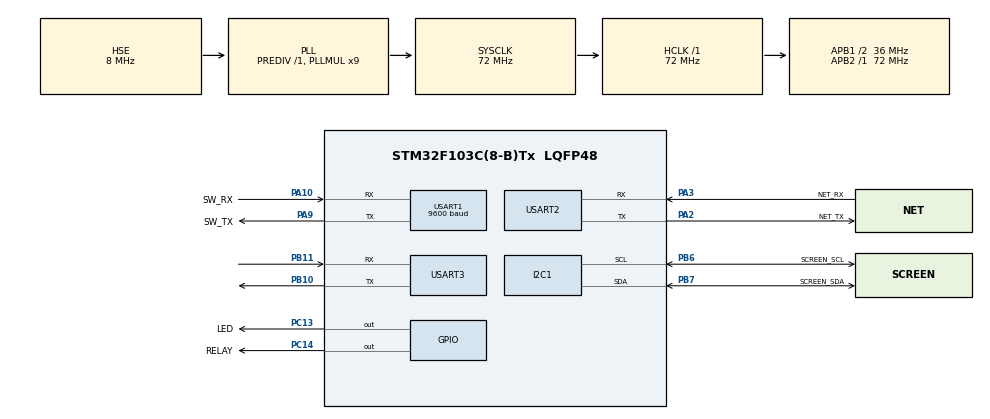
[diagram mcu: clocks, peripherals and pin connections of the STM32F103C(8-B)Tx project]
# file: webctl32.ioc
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Mcu.Family=STM32F1
Mcu.Name=STM32F103C(8-B)Tx
Mcu.Package=LQFP48
NVIC.I2C1_EV_IRQn=true\:0\:0\:false\:false\:true\:true\:true
NVIC.PriorityGroup=NVIC_PRIORITYGROUP_4
NVIC.USART1_IRQn=true\:0\:0\:false\:false\:true\:true\:true
NVIC.USART2_IRQn=true\:0\:0\:false\:false\:true\:true\:true
NVIC.USART3_IRQn=true\:0\:0\:false\:false\:true\:true\:true
PA10.GPIO_Label=SW_RX
PA10.Mode=Asynchronous
PA10.Signal=USART1_RX
PA13.Mode=Serial_Wire
PA13.Signal=SYS_JTMS-SWDIO
PA14.Mode=Serial_Wire
PA14.Signal=SYS_JTCK-SWCLK
PA2.GPIO_Label=NET_TX
PA2.Mode=Asynchronous
PA2.Signal=USART2_TX
PA3.GPIO_Label=NET_RX
PA3.Mode=Asynchronous
PA3.Signal=USART2_RX
PA9.GPIO_Label=SW_TX
PA9.Mode=Asynchronous
PA9.Signal=USART1_TX
PB10.Mode=Asynchronous
PB10.Signal=USART3_TX
PB11.Mode=Asynchronous
PB11.Signal=USART3_RX
PB6.GPIO_Label=SCREEN_SCL
PB6.Mode=I2C
PB6.Signal=I2C1_SCL
PB7.GPIO_Label=SCREEN_SDA
PB7.Mode=I2C
PB7.Signal=I2C1_SDA
PC13-TAMPER-RTC.GPIO_Label=LED
PC13-TAMPER-RTC.Signal=GPIO_Output
PC14-OSC32_IN.GPIO_Label=RELAY
PC14-OSC32_IN.Signal=GPIO_Output
PD0-OSC_IN.Mode=HSE-External-Oscillator
PD0-OSC_IN.Signal=RCC_OSC_IN
PD1-OSC_OUT.Mode=HSE-External-Oscillator
PD1-OSC_OUT.Signal=RCC_OSC_OUT
ProjectManager.HeapSize=0x200
ProjectManager.StackSize=0x400
ProjectManager.TargetToolchain=SW4STM32
RCC.AHBFreq_Value=72000000
RCC.APB1CLKDivider=RCC_HCLK_DIV2
RCC.APB1Freq_Value=36000000
RCC.APB1TimFreq_Value=72000000
RCC.APB2Freq_Value=72000000
RCC.APB2TimFreq_Value=72000000
RCC.HCLKFreq_Value=72000000
RCC.PLLMUL=RCC_PLL_MUL9
RCC.PLLSourceVirtual=RCC_PLLSOURCE_HSE
RCC.SYSCLKFreq_VALUE=72000000
RCC.SYSCLKSource=RCC_SYSCLKSOURCE_PLLCLK
RCC.USBFreq_Value=72000000
USART1.BaudRate=9600
USART1.VirtualMode=VM_ASYNC
USART2.VirtualMode=VM_ASYNC
USART3.VirtualMode=VM_ASYNC
board=custom

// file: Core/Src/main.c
/* USER CODE BEGIN Header */
/**
  ******************************************************************************
  * @file           : main.c
  * @brief          : Main program body
  ******************************************************************************
  * @attention
  *
  * <h2><center>&copy; Copyright (c) 2021 STMicroelectronics.
  * All rights reserved.</center></h2>
  *
  * This software component is licensed by ST under BSD 3-Clause license,
  * the "License"; You may not use this file except in compliance with the
  * License. You may obtain a copy of the License at:
  *                        opensource.org/licenses/BSD-3-Clause
  *
  ******************************************************************************
  */

/* USER CODE END Header */
#include "main.h"

/* USER CODE BEGIN Includes */
#include "oled.h"

extern uint8_t aRxBuffer1;
extern uint8_t aRxBuffer2;
extern uint8_t aRxBuffer3;
/* USER CODE END Includes */

I2C_HandleTypeDef hi2c1;

UART_HandleTypeDef huart1;
UART_HandleTypeDef huart2;
UART_HandleTypeDef huart3;

/* USER CODE BEGIN PV */
//printf 重定重定�??

#ifdef __GNUC__
#define PUTCHAR_PROTOTYPE int __io_putchar(int ch)
#else
#define PUTCHAR_PROTOTYPE int fputc(int ch, FILE *f)
#endif

PUTCHAR_PROTOTYPE {
    HAL_UART_Transmit(&huart3, (uint8_t *) &ch, 1, 0xFFFF);

    return ch;
}
/* USER CODE END PV */

void SystemClock_Config(void);
static void MX_GPIO_Init(void);
static void MX_I2C1_Init(void);
static void MX_USART1_UART_Init(void);
static void MX_USART2_UART_Init(void);
static void MX_USART3_UART_Init(void);

int main(void)
{

  /* MCU Configuration--------------------------------------------------------*/

  /* Reset of all peripherals, Initializes the Flash interface and the Systick. */
  HAL_Init();

  /* Configure the system clock */
  SystemClock_Config();

  /* Initialize all configured peripherals */
  MX_GPIO_Init();
  MX_I2C1_Init();
  MX_USART1_UART_Init();
  MX_USART2_UART_Init();
  MX_USART3_UART_Init();
  /* USER CODE BEGIN 2 */
    OLED_Init();
    OLED_Clear();
    HAL_UART_Receive_IT(&huart3, (uint8_t *) &aRxBuffer3, 1);
    HAL_UART_Receive_IT(&huart2, (uint8_t *) &aRxBuffer2, 1);
    HAL_UART_Receive_IT(&huart1, (uint8_t *) &aRxBuffer1, 1);
  /* USER CODE END 2 */

  /* Infinite loop */
  /* USER CODE BEGIN WHILE */
//    OLED_ShowString(0,0,"SADF",5);
    uint16_t i = 0;
    while (1) {
        HAL_Delay(500);

//      HAL_UART_Transmit(&huart3, (uint8_t *)&"asdfasdf", 1, 0xffff);
        HAL_GPIO_TogglePin(LED_GPIO_Port, LED_Pin);
//      printf("%d\n",i);
        i++;
    /* USER CODE END WHILE */

    }
}

void SystemClock_Config(void)
{
  RCC_OscInitTypeDef RCC_OscInitStruct = {0};
  RCC_ClkInitTypeDef RCC_ClkInitStruct = {0};

  /** Initializes the RCC Oscillators according to the specified parameters
  * in the RCC_OscInitTypeDef structure.
  */
  RCC_OscInitStruct.OscillatorType = RCC_OSCILLATORTYPE_HSE;
  RCC_OscInitStruct.HSEState = RCC_HSE_ON;
  RCC_OscInitStruct.HSEPredivValue = RCC_HSE_PREDIV_DIV1;
  RCC_OscInitStruct.HSIState = RCC_HSI_ON;
  RCC_OscInitStruct.PLL.PLLState = RCC_PLL_ON;
  RCC_OscInitStruct.PLL.PLLSource = RCC_PLLSOURCE_HSE;
  RCC_OscInitStruct.PLL.PLLMUL = RCC_PLL_MUL9;
  if (HAL_RCC_OscConfig(&RCC_OscInitStruct) != HAL_OK)
  {
    Error_Handler();
  }
  /** Initializes the CPU, AHB and APB buses clocks
  */
  RCC_ClkInitStruct.ClockType = RCC_CLOCKTYPE_HCLK|RCC_CLOCKTYPE_SYSCLK
                              |RCC_CLOCKTYPE_PCLK1|RCC_CLOCKTYPE_PCLK2;
  RCC_ClkInitStruct.SYSCLKSource = RCC_SYSCLKSOURCE_PLLCLK;
  RCC_ClkInitStruct.AHBCLKDivider = RCC_SYSCLK_DIV1;
  RCC_ClkInitStruct.APB1CLKDivider = RCC_HCLK_DIV2;
  RCC_ClkInitStruct.APB2CLKDivider = RCC_HCLK_DIV1;

  if (HAL_RCC_ClockConfig(&RCC_ClkInitStruct, FLASH_LATENCY_2) != HAL_OK)
  {
    Error_Handler();
  }
}

static void MX_I2C1_Init(void)
{

  hi2c1.Instance = I2C1;
  hi2c1.Init.ClockSpeed = 100000;
  hi2c1.Init.DutyCycle = I2C_DUTYCYCLE_2;
  hi2c1.Init.OwnAddress1 = 0;
  hi2c1.Init.AddressingMode = I2C_ADDRESSINGMODE_7BIT;
  hi2c1.Init.DualAddressMode = I2C_DUALADDRESS_DISABLE;
  hi2c1.Init.OwnAddress2 = 0;
  hi2c1.Init.GeneralCallMode = I2C_GENERALCALL_DISABLE;
  hi2c1.Init.NoStretchMode = I2C_NOSTRETCH_DISABLE;
  if (HAL_I2C_Init(&hi2c1) != HAL_OK)
  {
    Error_Handler();
  }

}

static void MX_USART1_UART_Init(void)
{

  huart1.Instance = USART1;
  huart1.Init.BaudRate = 9600;
  huart1.Init.WordLength = UART_WORDLENGTH_8B;
  huart1.Init.StopBits = UART_STOPBITS_1;
  huart1.Init.Parity = UART_PARITY_NONE;
  huart1.Init.Mode = UART_MODE_TX_RX;
  huart1.Init.HwFlowCtl = UART_HWCONTROL_NONE;
  huart1.Init.OverSampling = UART_OVERSAMPLING_16;
  if (HAL_UART_Init(&huart1) != HAL_OK)
  {
    Error_Handler();
  }

}

static void MX_USART2_UART_Init(void)
{

  huart2.Instance = USART2;
  huart2.Init.BaudRate = 115200;
  huart2.Init.WordLength = UART_WORDLENGTH_8B;
  huart2.Init.StopBits = UART_STOPBITS_1;
  huart2.Init.Parity = UART_PARITY_NONE;
  huart2.Init.Mode = UART_MODE_TX_RX;
  huart2.Init.HwFlowCtl = UART_HWCONTROL_NONE;
  huart2.Init.OverSampling = UART_OVERSAMPLING_16;
  if (HAL_UART_Init(&huart2) != HAL_OK)
  {
    Error_Handler();
  }

}

static void MX_USART3_UART_Init(void)
{

  huart3.Instance = USART3;
  huart3.Init.BaudRate = 115200;
  huart3.Init.WordLength = UART_WORDLENGTH_8B;
  huart3.Init.StopBits = UART_STOPBITS_1;
  huart3.Init.Parity = UART_PARITY_NONE;
  huart3.Init.Mode = UART_MODE_TX_RX;
  huart3.Init.HwFlowCtl = UART_HWCONTROL_NONE;
  huart3.Init.OverSampling = UART_OVERSAMPLING_16;
  if (HAL_UART_Init(&huart3) != HAL_OK)
  {
    Error_Handler();
  }

}

static void MX_GPIO_Init(void)
{
  GPIO_InitTypeDef GPIO_InitStruct = {0};

  /* GPIO Ports Clock Enable */
  __HAL_RCC_GPIOC_CLK_ENABLE();
  __HAL_RCC_GPIOD_CLK_ENABLE();
  __HAL_RCC_GPIOA_CLK_ENABLE();
  __HAL_RCC_GPIOB_CLK_ENABLE();

  /*Configure GPIO pin Output Level */
  HAL_GPIO_WritePin(GPIOC, LED_Pin|RELAY_Pin, GPIO_PIN_RESET);

  /*Configure GPIO pins : LED_Pin RELAY_Pin */
  GPIO_InitStruct.Pin = LED_Pin|RELAY_Pin;
  GPIO_InitStruct.Mode = GPIO_MODE_OUTPUT_PP;
  GPIO_InitStruct.Pull = GPIO_NOPULL;
  GPIO_InitStruct.Speed = GPIO_SPEED_FREQ_LOW;
  HAL_GPIO_Init(GPIOC, &GPIO_InitStruct);

}

void Error_Handler(void)
{
    __disable_irq();
    while (1) {
    }
}

/************************ (C) COPYRIGHT STMicroelectronics *****END OF FILE****/
